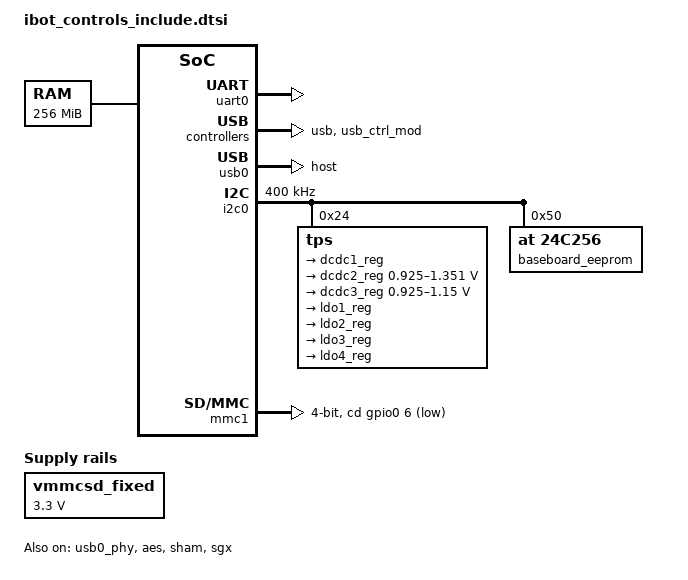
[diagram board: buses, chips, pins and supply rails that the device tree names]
/*
 * Copyright (C) 2012 Texas Instruments Incorporated - http://www.ti.com/
 *
 * This program is free software; you can redistribute it and/or modify
 * it under the terms of the GNU General Public License version 2 as
 * published by the Free Software Foundation.
 */

/ {
	cpus {
		cpu@0 {
			cpu0-supply = <&dcdc2_reg>;
		};
	};

	memory {
		device_type = "memory";
		reg = <0x80000000 0x10000000>; /* 256 MB */
	};

	vmmcsd_fixed: fixedregulator@0 {
		compatible = "regulator-fixed";
		regulator-name = "vmmcsd_fixed";
		regulator-min-microvolt = <3300000>;
		regulator-max-microvolt = <3300000>;
	};
};

&am33xx_pinmux {
	i2c0_pins: pinmux_i2c0_pins {
		pinctrl-single,pins = <
			AM33XX_IOPAD(0x988, PIN_INPUT_PULLUP | MUX_MODE0)	/* i2c0_sda.i2c0_sda */
			AM33XX_IOPAD(0x98c, PIN_INPUT_PULLUP | MUX_MODE0)	/* i2c0_scl.i2c0_scl */
		>;
	};

	uart0_pins: pinmux_uart0_pins {
		pinctrl-single,pins = <
			AM33XX_IOPAD(0x970, PIN_INPUT_PULLUP | MUX_MODE0)	/* uart0_rxd.uart0_rxd */
			AM33XX_IOPAD(0x974, PIN_OUTPUT_PULLDOWN | MUX_MODE0)	/* uart0_txd.uart0_txd */
		>;
	};

	mmc1_pins: pinmux_mmc1_pins {
		pinctrl-single,pins = <
			AM33XX_IOPAD(0x960, PIN_INPUT | MUX_MODE7) /* GPIO0_6 */
		>;
	};

	emmc_pins: pinmux_emmc_pins {
		pinctrl-single,pins = <
			AM33XX_IOPAD(0x880, PIN_INPUT_PULLUP | MUX_MODE2) /* gpmc_csn1.mmc1_clk */
			AM33XX_IOPAD(0x884, PIN_INPUT_PULLUP | MUX_MODE2) /* gpmc_csn2.mmc1_cmd */
			AM33XX_IOPAD(0x800, PIN_INPUT_PULLUP | MUX_MODE1) /* gpmc_ad0.mmc1_dat0 */
			AM33XX_IOPAD(0x804, PIN_INPUT_PULLUP | MUX_MODE1) /* gpmc_ad1.mmc1_dat1 */
			AM33XX_IOPAD(0x808, PIN_INPUT_PULLUP | MUX_MODE1) /* gpmc_ad2.mmc1_dat2 */
			AM33XX_IOPAD(0x80c, PIN_INPUT_PULLUP | MUX_MODE1) /* gpmc_ad3.mmc1_dat3 */
			AM33XX_IOPAD(0x810, PIN_INPUT_PULLUP | MUX_MODE1) /* gpmc_ad4.mmc1_dat4 */
			AM33XX_IOPAD(0x814, PIN_INPUT_PULLUP | MUX_MODE1) /* gpmc_ad5.mmc1_dat5 */
			AM33XX_IOPAD(0x818, PIN_INPUT_PULLUP | MUX_MODE1) /* gpmc_ad6.mmc1_dat6 */
			AM33XX_IOPAD(0x81c, PIN_INPUT_PULLUP | MUX_MODE1) /* gpmc_ad7.mmc1_dat7 */
		>;
	};
};

&uart0 {
	pinctrl-names = "default";
	pinctrl-0 = <&uart0_pins>;

	status = "okay";
};

&usb {
	status = "okay";
};

&usb_ctrl_mod {
	status = "okay";
};

&usb0_phy {
	status = "okay";
};

&usb0 {
	status = "okay";
	dr_mode = "host";
};

&cppi41dma  {
	status = "okay";
};

&i2c0 {
	pinctrl-names = "default";
	pinctrl-0 = <&i2c0_pins>;

	status = "okay";
	clock-frequency = <400000>;

	tps: tps@24 {
		reg = <0x24>;
	};

	baseboard_eeprom: baseboard_eeprom@50 {
		compatible = "at,24c256";
		reg = <0x50>;

		#address-cells = <1>;
		#size-cells = <1>;
		baseboard_data: baseboard_data@0 {
			reg = <0 0x100>;
		};
	};
};


/include/ "tps65217.dtsi"

&tps {
	/*
	 * Configure pmic to enter OFF-state instead of SLEEP-state ("RTC-only
	 * mode") at poweroff.  Most BeagleBone versions do not support RTC-only
	 * mode and risk hardware damage if this mode is entered.
	 *
	 * For details, see linux-omap mailing list May 2015 thread
	 *	[PATCH] ARM: dts: am335x-bone* enable pmic-shutdown-controller
	 * In particular, messages:
	 *	http://www.spinics.net/lists/linux-omap/msg118585.html
	 *	http://www.spinics.net/lists/linux-omap/msg118615.html
	 *
	 * You can override this later with
	 *	&tps {  /delete-property/ ti,pmic-shutdown-controller;  }
	 * if you want to use RTC-only mode and made sure you are not affected
	 * by the hardware problems. (Tip: double-check by performing a current
	 * measurement after shutdown: it should be less than 1 mA.)
	 */
	ti,pmic-shutdown-controller;

	interrupt-parent = <&intc>;
	interrupts = <7>;	/* NNMI */

	regulators {
		dcdc1_reg: regulator@0 {
			regulator-name = "vdds_dpr";
			regulator-always-on;
		};

		dcdc2_reg: regulator@1 {
			/* VDD_MPU voltage limits 0.95V - 1.26V with +/-4% tolerance */
			regulator-name = "vdd_mpu";
			regulator-min-microvolt = <925000>;
			regulator-max-microvolt = <1351500>;
			regulator-boot-on;
			regulator-always-on;
		};

		dcdc3_reg: regulator@2 {
			/* VDD_CORE voltage limits 0.95V - 1.1V with +/-4% tolerance */
			regulator-name = "vdd_core";
			regulator-min-microvolt = <925000>;
			regulator-max-microvolt = <1150000>;
			regulator-boot-on;
			regulator-always-on;
		};

		ldo1_reg: regulator@3 {
			regulator-name = "vio,vrtc,vdds";
			regulator-always-on;
		};

		ldo2_reg: regulator@4 {
			regulator-name = "vdd_3v3aux";
			regulator-always-on;
		};

		ldo3_reg: regulator@5 {
			regulator-name = "vdd_1v8";
			regulator-always-on;
		};

		ldo4_reg: regulator@6 {
			regulator-name = "vdd_3v3a";
			regulator-always-on;
		};
	};
};

&mmc1 {
	status = "okay";
	bus-width = <0x4>;
	pinctrl-names = "default";
	pinctrl-0 = <&mmc1_pins>;
	cd-gpios = <&gpio0 6 GPIO_ACTIVE_LOW>;
};

&aes {
	status = "okay";
};

&sham {
	status = "okay";
};

&wkup_m3_ipc {
	ti,scale-data-fw = "am335x-bone-scale-data.bin";
};

&rtc {
	clocks = <&clk_32768_ck>, <&clkdiv32k_ick>;
	clock-names = "ext-clk", "int-clk";
	system-power-controller;
};

&sgx {
	status = "okay";
};


